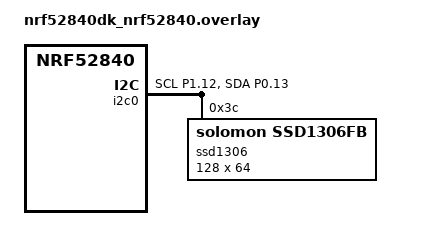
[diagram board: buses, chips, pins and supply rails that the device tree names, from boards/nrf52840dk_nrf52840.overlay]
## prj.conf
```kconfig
CONFIG_I2C=y
CONFIG_DISPLAY=y
CONFIG_SSD1306=y
# From Zephyr 3.5.0 CONFIG_SSD1306_DEFAULT is no longer used
# CONFIG_SSD1306_DEFAULT=y
CONFIG_SSD1306_DEFAULT_CONTRAST=128
CONFIG_LOG=y
```

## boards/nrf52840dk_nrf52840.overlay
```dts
// To get started, press Ctrl+Space (or Option+Esc) to bring up the completion menu and view the available nodes.

// You can also use the buttons in the sidebar to perform actions on nodes.
// Actions currently available include:

// * Enabling / disabling the node
// * Adding the bus to a bus
// * Removing the node
// * Connecting ADC channels

// For more help, browse the DeviceTree documentation at https://docs.zephyrproject.org/latest/guides/dts/index.html
// You can also visit the nRF DeviceTree extension documentation at https://nrfconnect.github.io/vscode-nrf-connect/devicetree/nrfdevicetree.html

&uart0 {
	status = "disabled";
};

&i2c0 {
	status = "okay";
    pinctrl-0 = <&i2c0_default>;
	pinctrl-names = "default";
    easydma-maxcnt-bits = <2048>;

    ssd1306: ssd1306@3c {
        compatible = "solomon,ssd1306fb";
        reg = <0x3c>;
        height = <64>;
        width = <128>;
        segment-offset = <0>;
        page-offset = <0>;
        display-offset = <0>;
        multiplex-ratio = <63>;
        prechargep = <0x22>;
        com-invdir;
        segment-remap;
        };
};

&pinctrl {
	i2c0_default: i2c0_default {
        group1 {
            psels = <NRF_PSEL(TWIM_SCL, 1, 12)>, 
                    <NRF_PSEL(TWIM_SDA, 0, 13)>;
        };
	};
};
```

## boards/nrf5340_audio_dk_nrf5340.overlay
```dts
// To get started, press Ctrl+Space (or Option+Esc) to bring up the completion menu and view the available nodes.

// You can also use the buttons in the sidebar to perform actions on nodes.
// Actions currently available include:

// * Enabling / disabling the node
// * Adding the bus to a bus
// * Removing the node
// * Connecting ADC channels

// For more help, browse the DeviceTree documentation at https://docs.zephyrproject.org/latest/guides/dts/index.html
// You can also visit the nRF DeviceTree extension documentation at https://nrfconnect.github.io/vscode-nrf-connect/devicetree/nrfdevicetree.html

&i2c2 {
	status = "okay";
    pinctrl-0 = <&i2c2_default>;
	pinctrl-names = "default";
    zephyr,concat-buf-size = <2048>;

    ssd1306: ssd1306@3c {
        compatible = "solomon,ssd1306fb";
        reg = <0x3c>;
        height = <64>;
        width = <128>;
        segment-offset = <0>;
        page-offset = <0>;
        display-offset = <0>;
        multiplex-ratio = <63>;
        prechargep = <0x22>;
        com-invdir;
        segment-remap;
        };
};

&pinctrl {
	i2c2_default: i2c2_default {
        group1 {
            psels = <NRF_PSEL(TWIM_SCL, 0, 4)>, 
                    <NRF_PSEL(TWIM_SDA, 0, 5)>;
        };
	};
};

&pwm0 {
    status = "disabled";
};
```

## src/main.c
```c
#include <stdint.h>
#include <zephyr/device.h>
#include <zephyr/kernel.h>
#include <zephyr/drivers/display.h>
#include <zephyr/logging/log.h>

#include "image.h"

#define DISPLAY_BUFFER_PITCH 128

LOG_MODULE_REGISTER(display);

static const struct device *display = DEVICE_DT_GET(DT_NODELABEL(ssd1306));

void main(void)
{
  if (display == NULL) {
    LOG_ERR("device pointer is NULL");
    return;
  }

  if (!device_is_ready(display)) {
    LOG_ERR("display device is not ready");
    return;
  }

  size_t ms_sleep = 500;

  struct display_capabilities capabilities;
  display_get_capabilities(display, &capabilities);

  const uint16_t x_res = capabilities.x_resolution;
  const uint16_t y_res = capabilities.y_resolution;

  LOG_INF("x_resolution: %d", x_res);
  LOG_INF("y_resolution: %d", y_res);
  LOG_INF("supported pixel formats: %d", capabilities.supported_pixel_formats);
  LOG_INF("screen_info: %d", capabilities.screen_info);
  LOG_INF("current_pixel_format: %d", capabilities.current_pixel_format);
  LOG_INF("current_orientation: %d", capabilities.current_orientation);
	 
  const struct display_buffer_descriptor buf_desc = {
    .width = x_res,
    .height = y_res,
    .buf_size = x_res * y_res,
    .pitch = DISPLAY_BUFFER_PITCH
  };

  if (display_set_contrast(display, 0) != 0) {
    LOG_ERR("could not set display contrast");
  }

  while (true)
  {
    display_write(display, 0, 0, &buf_desc, buf[0]);
    display_set_contrast(display, 0);
    k_sleep(K_MSEC(ms_sleep));
    display_write(display, 0, 0, &buf_desc, buf[1]);
    display_set_contrast(display, 0);
    k_sleep(ms_sleep);
  }
  

  // while (true) {
  //   // Increase brightness
  //   for (size_t i = 0; i < 255; i++) {
  //     display_set_contrast(display, i);
  //     k_sleep(K_MSEC(ms_sleep));
  //   }

  //   // Decrease brightness
  //   for (size_t i = 255; i > 0; i--) {
  //     display_set_contrast(display, i);
  //     k_sleep(K_MSEC(ms_sleep));
  //   }
  // }
}
```

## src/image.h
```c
uint8_t buf[2] [1024] = {
{
0x00, 0x00, 0x00, 0x00, 0x00, 0x00, 0x00, 0x00, 0x00, 0x00, 0x00, 0x00, 0x00, 0x00, 0x00, 0x00, 
0x00, 0x00, 0x00, 0x00, 0x00, 0x00, 0x00, 0x00, 0x00, 0x00, 0x00, 0x00, 0x00, 0x00, 0x00, 0x00, 
0x00, 0x00, 0x00, 0x00, 0x00, 0x00, 0x00, 0x00, 0x00, 0x00, 0x00, 0x00, 0x00, 0x00, 0x00, 0x00, 
0x00, 0x00, 0x00, 0x00, 0x00, 0x00, 0x00, 0x00, 0x00, 0x00, 0x00, 0x80, 0x80, 0x80, 0x80, 0x00, 
0x00, 0x80, 0x80, 0x80, 0x80, 0x00, 0x00, 0x00, 0x00, 0x00, 0x00, 0x00, 0x00, 0x00, 0x00, 0x00, 
0x00, 0x00, 0x00, 0x00, 0x00, 0x00, 0x00, 0x00, 0x00, 0x00, 0x00, 0x00, 0x00, 0x00, 0x00, 0x00, 
0x00, 0x00, 0x00, 0x00, 0x00, 0x00, 0x00, 0x00, 0x00, 0x00, 0x00, 0x00, 0x00, 0x00, 0x00, 0x00, 
0x00, 0x00, 0x00, 0x00, 0x00, 0x00, 0x00, 0x00, 0x00, 0x00, 0x00, 0x00, 0x00, 0x00, 0x00, 0x00, 
0x00, 0x00, 0x00, 0x00, 0x00, 0x00, 0x00, 0x00, 0x00, 0x00, 0x00, 0x00, 0x00, 0x00, 0x00, 0x00, 
0x00, 0x00, 0x00, 0x00, 0x00, 0x00, 0x00, 0x00, 0x00, 0x00, 0x00, 0x00, 0x00, 0x00, 0x00, 0x00, 
0x00, 0x00, 0x00, 0x00, 0x00, 0x00, 0x00, 0x00, 0x00, 0x00, 0x00, 0x00, 0x00, 0x00, 0x00, 0x80, 
0xc0, 0xe0, 0xf0, 0xf8, 0xfc, 0xfc, 0xfe, 0xfe, 0xff, 0xff, 0xff, 0x1f, 0x1f, 0x0f, 0x0f, 0x00, 
0x00, 0x0f, 0x0f, 0x1f, 0x1f, 0xff, 0xff, 0xff, 0xfe, 0xfe, 0xfc, 0xfc, 0xf8, 0xf0, 0xe0, 0xc0, 
0x80, 0x00, 0x00, 0x00, 0x00, 0x00, 0x00, 0x00, 0x00, 0x00, 0x00, 0x00, 0x00, 0x00, 0x00, 0x00, 
0x00, 0x00, 0x00, 0x00, 0x00, 0x00, 0x00, 0x00, 0x00, 0x00, 0x00, 0x00, 0x00, 0x00, 0x00, 0x00, 
0x00, 0x00, 0x00, 0x00, 0x00, 0x00, 0x00, 0x00, 0x00, 0x00, 0x00, 0x00, 0x00, 0x00, 0x00, 0x00, 
0x00, 0x00, 0x00, 0x00, 0x00, 0x00, 0x00, 0x00, 0x00, 0x00, 0x00, 0x00, 0x00, 0x00, 0x00, 0x00, 
0x00, 0x00, 0x00, 0x00, 0x00, 0x00, 0x00, 0x00, 0x00, 0x00, 0x00, 0x00, 0x00, 0x00, 0x00, 0x00, 
0x00, 0x00, 0x00, 0x00, 0x00, 0x00, 0x00, 0x00, 0x00, 0x00, 0x00, 0x00, 0xc0, 0xf8, 0xfe, 0xff, 
0xff, 0xff, 0xff, 0xff, 0xff, 0xff, 0xff, 0xff, 0xff, 0xff, 0xff, 0x86, 0x86, 0x86, 0x86, 0x86, 
0x86, 0x86, 0x86, 0x86, 0x86, 0xff, 0xff, 0xff, 0xff, 0xff, 0xff, 0xff, 0xff, 0xff, 0xff, 0xff, 
0xff, 0xfe, 0xf8, 0xc0, 0x00, 0x00, 0x00, 0x00, 0x00, 0x00, 0x00, 0x00, 0x00, 0x00, 0x00, 0x00, 
0x00, 0x00, 0x00, 0x00, 0x00, 0x00, 0x00, 0x00, 0x00, 0x00, 0x00, 0x00, 0x00, 0x00, 0x00, 0x00, 
0x00, 0x00, 0x00, 0x00, 0x00, 0x00, 0x00, 0x00, 0x00, 0x00, 0x00, 0x00, 0x00, 0x00, 0x00, 0x00, 
0x00, 0x00, 0x00, 0x00, 0x00, 0x00, 0x00, 0x00, 0x00, 0x00, 0x00, 0x00, 0x00, 0x00, 0x00, 0x00, 
0x00, 0x00, 0x00, 0x00, 0x00, 0x00, 0x00, 0x00, 0x00, 0x00, 0x00, 0x00, 0x00, 0x00, 0x00, 0x00, 
0x00, 0x00, 0x00, 0x00, 0x00, 0x00, 0x00, 0x00, 0x00, 0x00, 0x00, 0x00, 0xff, 0xff, 0xff, 0xff, 
0xff, 0xff, 0xff, 0xff, 0xff, 0xff, 0xff, 0xff, 0xff, 0xff, 0xff, 0x21, 0x21, 0x21, 0x21, 0x21, 
0x21, 0x21, 0x21, 0x21, 0x21, 0xff, 0xff, 0xff, 0xff, 0xff, 0xff, 0xff, 0xff, 0xff, 0xff, 0xff, 
0xff, 0xff, 0xff, 0xff, 0x00, 0x00, 0x00, 0x00, 0x00, 0x00, 0x00, 0x00, 0x00, 0x00, 0x00, 0x00, 
0x00, 0x00, 0x00, 0x00, 0x00, 0x00, 0x00, 0x00, 0x00, 0x00, 0x00, 0x00, 0x00, 0x00, 0x00, 0x00, 
0x00, 0x00, 0x00, 0x00, 0x00, 0x00, 0x00, 0x00, 0x00, 0x00, 0x00, 0x00, 0x00, 0x00, 0x00, 0x00, 
0x00, 0x00, 0x00, 0x00, 0x00, 0x00, 0x00, 0x00, 0x00, 0x00, 0x00, 0x00, 0x00, 0x00, 0x00, 0x00, 
0x00, 0x00, 0x00, 0x00, 0x00, 0x00, 0x00, 0x00, 0x00, 0x00, 0x00, 0x00, 0x00, 0x00, 0x00, 0x00, 
0x00, 0x00, 0x00, 0x00, 0x00, 0x00, 0x00, 0x00, 0x00, 0x00, 0x00, 0x00, 0x00, 0x07, 0x1f, 0x7f, 
0xff, 0xff, 0xff, 0xff, 0xff, 0xff, 0xff, 0xff, 0xff, 0xff, 0xff, 0x18, 0x18, 0x18, 0x18, 0x18, 
0x18, 0x18, 0x18, 0x18, 0x18, 0xff, 0xff, 0xff, 0xff, 0xff, 0xff, 0xff, 0xff, 0xff, 0xff, 0xff, 
0x7f, 0x1f, 0x07, 0x00, 0x00, 0x00, 0x00, 0x00, 0x00, 0x00, 0x00, 0x00, 0x00, 0x00, 0x00, 0x00, 
0x00, 0x00, 0x00, 0x00, 0x00, 0x00, 0x00, 0x00, 0x00, 0x00, 0x00, 0x00, 0x00, 0x00, 0x00, 0x00, 
0x00, 0x00, 0x00, 0x00, 0x00, 0x00, 0x00, 0x00, 0x00, 0x00, 0x00, 0x00, 0x00, 0x00, 0x00, 0x00, 
0x00, 0x00, 0x00, 0x00, 0x00, 0x00, 0x00, 0x00, 0x00, 0x00, 0x00, 0x00, 0x00, 0x00, 0x00, 0x00, 
0x00, 0x00, 0x00, 0x00, 0x00, 0x00, 0x00, 0x00, 0x00, 0x00, 0x00, 0x00, 0x00, 0x00, 0x00, 0x00, 
0x00, 0x00, 0x00, 0x00, 0x00, 0x00, 0x00, 0x00, 0x00, 0x00, 0x00, 0x00, 0x00, 0x00, 0x00, 0x00, 
0x00, 0x01, 0x03, 0x07, 0x0f, 0x0f, 0x1f, 0x1f, 0x3f, 0x3f, 0x3f, 0x7e, 0x7e, 0x7c, 0x7c, 0x00, 
0x00, 0x7c, 0x7c, 0x7e, 0x7e, 0x3f, 0x3f, 0x3f, 0x1f, 0x1f, 0x0f, 0x0f, 0x07, 0x03, 0x01, 0x00, 
0x00, 0x00, 0x00, 0x00, 0x00, 0x00, 0x00, 0x00, 0x00, 0x00, 0x00, 0x00, 0x00, 0x00, 0x00, 0x00, 
0x00, 0x00, 0x00, 0x00, 0x00, 0x00, 0x00, 0x00, 0x00, 0x00, 0x00, 0x00, 0x00, 0x00, 0x00, 0x00, 
0x00, 0x00, 0x00, 0x00, 0x00, 0x00, 0x00, 0x00, 0x00, 0x00, 0x00, 0x00, 0x00, 0x00, 0x00, 0x00, 
0x00, 0x00, 0x00, 0x00, 0x00, 0x00, 0x00, 0x00, 0x00, 0x00, 0x00, 0x00, 0x10, 0x10, 0xf0, 0x10, 
0x10, 0x00, 0xf0, 0x80, 0x80, 0x80, 0xf0, 0x00, 0xf0, 0x90, 0x90, 0x90, 0x10, 0x00, 0x00, 0x00, 
0xf0, 0x90, 0x90, 0x90, 0x60, 0x00, 0xf0, 0x00, 0x00, 0x00, 0xf0, 0x00, 0xf0, 0x00, 0x00, 0x00, 
0x00, 0x00, 0xf0, 0x00, 0x00, 0x00, 0x00, 0x80, 0x80, 0x80, 0x00, 0xf0, 0x00, 0x00, 0x00, 0xf0, 
0x00, 0xf0, 0x90, 0x90, 0x90, 0x60, 0x00, 0x00, 0x00, 0xf0, 0x90, 0x90, 0x90, 0x60, 0x00, 0xf0, 
0x90, 0x90, 0x10, 0x10, 0x00, 0x60, 0x90, 0x90, 0x90, 0x10, 0x00, 0xf0, 0x00, 0x60, 0x90, 0x90, 
0x90, 0x10, 0x00, 0x10, 0x10, 0xf0, 0x10, 0x10, 0x00, 0xe0, 0x10, 0x10, 0x10, 0xe0, 0x00, 0xf0, 
0x90, 0x90, 0x90, 0x60, 0x00, 0x00, 0x00, 0x00, 0x00, 0x00, 0x00, 0x00, 0x00, 0x00, 0x00, 0x00, 
0x00, 0x00, 0x00, 0x00, 0x00, 0x00, 0x00, 0x00, 0x00, 0x00, 0x00, 0x00, 0x00, 0x00, 0x07, 0x00, 
0x00, 0x00, 0x07, 0x00, 0x00, 0x00, 0x07, 0x00, 0x07, 0x04, 0x04, 0x04, 0x04, 0x00, 0x00, 0x00, 
0x07, 0x00, 0x00, 0x00, 0x00, 0x00, 0x03, 0x04, 0x04, 0x04, 0x03, 0x00, 0x07, 0x04, 0x04, 0x04, 
0x04, 0x00, 0x07, 0x04, 0x04, 0x04, 0x04, 0x00, 0x00, 0x00, 0x00, 0x03, 0x04, 0x04, 0x04, 0x03, 
0x00, 0x07, 0x00, 0x00, 0x00, 0x00, 0x00, 0x00, 0x00, 0x07, 0x00, 0x00, 0x01, 0x06, 0x00, 0x07, 
0x04, 0x04, 0x04, 0x04, 0x00, 0x04, 0x04, 0x04, 0x04, 0x03, 0x00, 0x07, 0x00, 0x04, 0x04, 0x04, 
0x04, 0x03, 0x00, 0x00, 0x00, 0x07, 0x00, 0x00, 0x00, 0x03, 0x04, 0x04, 0x04, 0x03, 0x00, 0x07, 
0x00, 0x00, 0x01, 0x06, 0x00, 0x00, 0x00, 0x00, 0x00, 0x00, 0x00, 0x00, 0x00, 0x00, 0x00, 0x00},

{
0x00, 0x00, 0x00, 0x00, 0x00, 0x00, 0x00, 0x00, 0x00, 0x00, 0x00, 0x00, 0x00, 0x00, 0x00, 0x00, 
0x00, 0x00, 0x00, 0x00, 0x00, 0x00, 0x00, 0x00, 0x00, 0x00, 0x00, 0x00, 0x00, 0x00, 0x00, 0x00, 
0x00, 0x00, 0x00, 0x00, 0x00, 0x00, 0x00, 0x00, 0x00, 0x00, 0x00, 0x00, 0x00, 0x00, 0x00, 0x00, 
0x00, 0x00, 0x00, 0x00, 0x00, 0x00, 0x00, 0x00, 0x00, 0x00, 0x00, 0x00, 0x00, 0x00, 0x00, 0x00, 
0x00, 0x00, 0x00, 0x00, 0x00, 0x00, 0x00, 0x00, 0x00, 0x00, 0x00, 0x00, 0x00, 0x00, 0x00, 0x00, 
0x00, 0x00, 0x00, 0x00, 0x00, 0x00, 0x00, 0x00, 0x00, 0x00, 0x00, 0x00, 0x00, 0x00, 0x00, 0x00, 
0x00, 0x00, 0x00, 0x00, 0x00, 0x00, 0x00, 0x00, 0x00, 0x00, 0x00, 0x00, 0x00, 0x00, 0x00, 0x00, 
0x00, 0x00, 0x00, 0x00, 0x00, 0x00, 0x00, 0x00, 0x00, 0x00, 0x00, 0x00, 0x00, 0x00, 0x00, 0x00, 
0x00, 0x00, 0x00, 0xe0, 0xef, 0xef, 0xe9, 0xe0, 0xe0, 0xe1, 0xe5, 0xe5, 0xff, 0xdd, 0xdf, 0xd5, 
0xdf, 0xdf, 0xdf, 0xdf, 0xdf, 0xdf, 0xd7, 0xdf, 0xcf, 0xdd, 0xd3, 0xd7, 0xd7, 0xd7, 0xd3, 0xc1, 
0xd3, 0xd3, 0xcb, 0xc3, 0xd3, 0xdf, 0xcf, 0xcf, 0xcd, 0xc7, 0xc6, 0xc6, 0xc7, 0xc3, 0xc3, 0xc3, 
0xc3, 0xd1, 0xc1, 0xc1, 0xc1, 0x80, 0x80, 0x80, 0x00, 0x00, 0x00, 0x00, 0x00, 0x00, 0x00, 0x00, 
0x00, 0x00, 0x00, 0x00, 0x00, 0x00, 0x00, 0x00, 0x00, 0x00, 0x00, 0x00, 0x00, 0x00, 0x00, 0x00, 
0x00, 0x00, 0x00, 0x00, 0x00, 0x00, 0x00, 0x00, 0x80, 0x80, 0x80, 0x80, 0x80, 0x80, 0x80, 0x80, 
0x80, 0x80, 0x80, 0x80, 0x80, 0x80, 0x80, 0x80, 0x80, 0x80, 0x80, 0x80, 0x80, 0xfe, 0x7f, 0xff, 
0x7f, 0xff, 0x7f, 0x81, 0x80, 0x80, 0x80, 0x80, 0x80, 0x80, 0x80, 0x80, 0x80, 0x80, 0x80, 0x00, 
0x00, 0x00, 0xc8, 0xeb, 0xea, 0xea, 0xea, 0xeb, 0xeb, 0xef, 0xfb, 0xfb, 0xfb, 0xfb, 0xfb, 0xfb, 
0xf9, 0xf9, 0xf9, 0xf9, 0xf9, 0xf9, 0xfb, 0xfa, 0xf8, 0xf8, 0xf9, 0xf9, 0xfb, 0xff, 0xff, 0xfb, 
0xfb, 0xfb, 0xfd, 0xf9, 0xfb, 0xfb, 0xfe, 0xfe, 0xfb, 0xfb, 0xff, 0xff, 0xff, 0xff, 0xff, 0xfb, 
0xfb, 0xff, 0xf9, 0xfc, 0xfe, 0x3b, 0x0b, 0x02, 0x00, 0x00, 0x00, 0x00, 0x00, 0x00, 0x00, 0x08, 
0x18, 0x18, 0x02, 0x02, 0x07, 0x07, 0x3f, 0xdf, 0xc7, 0xc7, 0x07, 0x07, 0x16, 0x04, 0x00, 0x00, 
0x00, 0x00, 0x00, 0x00, 0x00, 0x00, 0xc0, 0xec, 0xeb, 0xff, 0xef, 0xf7, 0xc7, 0xff, 0xef, 0xef, 
0xef, 0xff, 0xff, 0xff, 0xff, 0xf7, 0xe7, 0xe7, 0xe7, 0xff, 0xef, 0xef, 0xef, 0xef, 0xff, 0xef, 
0xcf, 0xc7, 0xd3, 0xc1, 0xc1, 0xf1, 0xf9, 0xf9, 0xf9, 0xfd, 0xff, 0xff, 0xff, 0xff, 0xef, 0x00, 
0x00, 0x00, 0xff, 0xff, 0xff, 0xff, 0xff, 0xff, 0xff, 0xff, 0xff, 0xff, 0xff, 0xff, 0xff, 0xff, 
0xff, 0xff, 0xff, 0xff, 0xff, 0xff, 0xff, 0xff, 0xff, 0xff, 0xff, 0xff, 0xff, 0xff, 0xff, 0xff, 
0xff, 0xff, 0xff, 0xff, 0xff, 0xff, 0xff, 0xff, 0xff, 0xff, 0xff, 0xff, 0xff, 0xff, 0xff, 0xff, 
0xff, 0xff, 0xff, 0xff, 0xff, 0xff, 0xf0, 0xc0, 0x80, 0x00, 0x00, 0xc0, 0x80, 0x00, 0x00, 0x00, 
0x1c, 0x2e, 0xae, 0xae, 0xae, 0x48, 0x49, 0x41, 0x03, 0x01, 0x00, 0x00, 0x00, 0x00, 0x00, 0x00, 
0x80, 0xb0, 0xf8, 0xe8, 0xec, 0xef, 0xef, 0xff, 0xff, 0xff, 0xff, 0xf7, 0xf7, 0xf7, 0xf7, 0xf7, 
0xf7, 0xff, 0xff, 0xff, 0xfb, 0xfb, 0xfb, 0xfb, 0xfb, 0xff, 0xff, 0xff, 0xff, 0xff, 0xff, 0xfd, 
0xfd, 0xff, 0xff, 0xff, 0xff, 0xff, 0xff, 0xff, 0xff, 0xff, 0x7f, 0x7f, 0x7f, 0x7f, 0x7f, 0x00, 
0x00, 0x00, 0xbf, 0xbf, 0xbf, 0xbf, 0xbf, 0xff, 0xff, 0xff, 0xff, 0xff, 0xdf, 0xdf, 0xdf, 0xff, 
0xff, 0xff, 0xff, 0xef, 0xef, 0xef, 0xef, 0xff, 0xff, 0xff, 0xff, 0xff, 0xf7, 0xf7, 0xf7, 0xff, 
0xff, 0xff, 0xff, 0xff, 0xff, 0xff, 0xff, 0xff, 0xff, 0xff, 0xff, 0xff, 0xff, 0xff, 0xff, 0xff, 
0xff, 0xff, 0xff, 0xff, 0xff, 0xff, 0xff, 0xff, 0xff, 0xfe, 0xf8, 0xf8, 0xff, 0xff, 0xe6, 0xf0, 
0xf0, 0xe0, 0xc0, 0xc1, 0x81, 0x81, 0x81, 0x81, 0x80, 0x80, 0x80, 0x80, 0x84, 0x96, 0xb6, 0x27, 
0x07, 0x07, 0x07, 0x07, 0x27, 0x27, 0x2f, 0x7f, 0x7f, 0x1f, 0x1f, 0x1f, 0x1f, 0xbf, 0xff, 0xdf, 
0xdf, 0xdf, 0xdf, 0xff, 0xef, 0xef, 0xef, 0xff, 0xf7, 0xf7, 0xf7, 0xf7, 0xff, 0xfb, 0xfb, 0xfb, 
0xff, 0xfd, 0xfd, 0xfd, 0xfd, 0xfe, 0xfe, 0xfe, 0xfe, 0xfe, 0xff, 0xff, 0xff, 0xff, 0xff, 0x00, 
0x00, 0x00, 0xff, 0xff, 0xff, 0xff, 0xff, 0xff, 0xff, 0xff, 0xff, 0xff, 0xff, 0xff, 0xff, 0xff, 
0xff, 0xff, 0xff, 0xff, 0xff, 0xff, 0xff, 0xff, 0xff, 0xff, 0xff, 0xbf, 0xff, 0xff, 0xff, 0xff, 
0xf9, 0x1e, 0x0f, 0xc7, 0xe7, 0xff, 0xff, 0xff, 0xff, 0xff, 0xff, 0xff, 0xff, 0xff, 0xff, 0xff, 
0xff, 0xff, 0xff, 0xff, 0xff, 0xff, 0xff, 0xff, 0xff, 0xff, 0x7f, 0x6f, 0xef, 0xef, 0xff, 0xff, 
0xff, 0xff, 0xff, 0xff, 0xff, 0xff, 0xff, 0xfd, 0xf9, 0xfa, 0x42, 0x03, 0x02, 0x42, 0x03, 0x00, 
0x38, 0xbf, 0xff, 0xff, 0xfe, 0xfe, 0xfe, 0xfe, 0xfc, 0xfc, 0xf8, 0xfc, 0xff, 0xff, 0xcf, 0x3f, 
0x7f, 0xff, 0xff, 0xff, 0xff, 0xff, 0xff, 0xff, 0xff, 0xff, 0xff, 0xff, 0xff, 0xff, 0xff, 0xff, 
0xff, 0xff, 0xff, 0xff, 0xff, 0xff, 0xff, 0xff, 0xff, 0xff, 0xff, 0xff, 0xff, 0xff, 0xff, 0x00, 
0x00, 0x00, 0xff, 0xff, 0xff, 0xff, 0xff, 0xff, 0xff, 0xff, 0xff, 0xff, 0xff, 0xff, 0xff, 0xff, 
0xff, 0xff, 0xff, 0xff, 0xff, 0xff, 0xff, 0xff, 0xff, 0xfd, 0xfe, 0xff, 0xff, 0xff, 0xff, 0xff, 
0xff, 0xff, 0xff, 0xff, 0xff, 0xff, 0xff, 0xff, 0xff, 0xff, 0xff, 0xff, 0xff, 0xff, 0xff, 0xff, 
0xff, 0xff, 0xff, 0xff, 0xff, 0xff, 0xff, 0xff, 0xfd, 0xff, 0xff, 0xff, 0xff, 0xff, 0xff, 0xff, 
0xff, 0xff, 0xff, 0xff, 0xff, 0x7f, 0x3f, 0x1f, 0x1f, 0x3b, 0x1b, 0x1e, 0x5e, 0x7c, 0x76, 0xf0, 
0xf0, 0xf0, 0xdd, 0xff, 0xff, 0xff, 0xff, 0xff, 0xff, 0xff, 0xff, 0xff, 0xff, 0xff, 0xff, 0xbc, 
0x80, 0x03, 0xff, 0xff, 0xff, 0xff, 0xff, 0xff, 0xff, 0xff, 0xff, 0xff, 0xff, 0xff, 0xff, 0xff, 
0xff, 0xff, 0xff, 0xff, 0xff, 0xff, 0xff, 0xff, 0xff, 0xff, 0xff, 0xff, 0xff, 0xff, 0xff, 0x00, 
0x00, 0x00, 0x00, 0x00, 0x00, 0x00, 0x00, 0x00, 0x00, 0x00, 0x00, 0x00, 0x00, 0x00, 0x00, 0x00, 
0x00, 0x00, 0x00, 0x00, 0x00, 0x00, 0x00, 0x00, 0x00, 0x00, 0x00, 0x00, 0x00, 0x00, 0x00, 0x00, 
0x00, 0x00, 0x00, 0x00, 0x00, 0x00, 0x00, 0x00, 0x00, 0x00, 0x00, 0x00, 0x00, 0x00, 0x00, 0x00, 
0x00, 0x00, 0x00, 0x00, 0x00, 0x00, 0x00, 0x00, 0x00, 0x00, 0x00, 0x00, 0x00, 0x00, 0x00, 0x00, 
0x00, 0x00, 0x00, 0x00, 0x00, 0x00, 0x00, 0x00, 0x00, 0x00, 0x00, 0x00, 0x00, 0x00, 0x00, 0x00, 
0x00, 0x00, 0x00, 0x00, 0x00, 0x00, 0x00, 0x00, 0x00, 0x00, 0x00, 0x00, 0x00, 0x00, 0x00, 0x00, 
0x00, 0x00, 0x00, 0x00, 0x00, 0x00, 0x00, 0x00, 0x00, 0x00, 0x00, 0x00, 0x00, 0x00, 0x00, 0x00, 
0x00, 0x00, 0x00, 0x00, 0x00, 0x00, 0x00, 0x00, 0x00, 0x00, 0x00, 0x00, 0x00, 0x00, 0x00, 0x00}};
```
